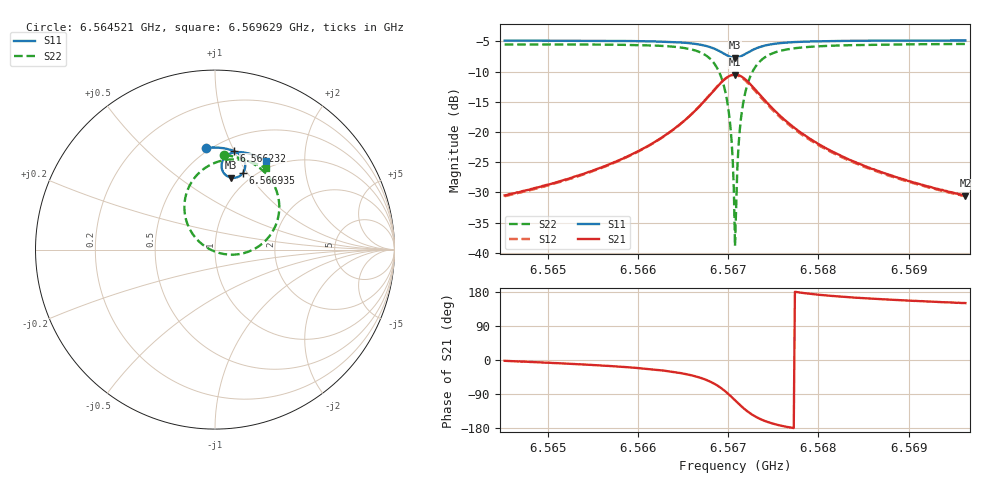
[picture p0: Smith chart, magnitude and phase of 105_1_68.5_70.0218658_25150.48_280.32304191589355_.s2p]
#  HZ  S  RI  R  50.00
! Rohde & Schwarz Vector Network Analyzer
! Rohde-Schwarz,ZNB20-2Port,1311601062101988,3.16
! Created: UTC 3/20/2024, 4:53:13 PM
! freq[Hz]  re:S11  im:S11  re:S21  im:S21  re:S12  im:S12  re:S22  im:S22
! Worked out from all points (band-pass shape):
!   401 points, 6.564521 GHz to 6.569629 GHz, reference 50 ohm
!   highest |S21| = -10.50 dB at 6.567075 GHz (marker M1); lowest = -30.5 dB at 6.569629 GHz (marker M2)
!   |S21| within 3 dB of the highest: 6.566819 GHz to 6.56733 GHz (511 kHz wide, 0.00778 % of centre)
!   lowest |S11| = -7.7 dB at 6.567075 GHz (marker M3), VSWR 2.39, Z = 41.8 + j40.4 ohm
!   |S11| at or under -10 dB: nowhere
!   |S22| runs from -38.9 to -5.4 dB; largest |S21 - S12| = 0.015
!   S11 on the Smith chart (normalised r, x): 6.564521 GHz: 0.47, +0.80; 6.566232 GHz: 0.62, +1.00; 6.566935 GHz: 0.89, +0.95; 6.569629 GHz: 0.89, +1.31
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6.5645212e9  -0.0493 0.5673  0.0299 -0.00108  0.0294 -0.00161  0.0529 0.5262
6.5653768e9  0.0217 0.5675  0.0437 -0.00892  0.043 -0.00965  0.1371 0.5104
6.5662324e9  0.1045 0.5497  0.0778 -0.0389  0.0766 -0.0399  0.2581 0.4474
6.5665261e9  0.1397 0.5279  0.101 -0.0759  0.0995 -0.0776  0.3209 0.3741
6.5667304e9  0.1639 0.4932  0.1143 -0.137  0.1116 -0.1399  0.3576 0.2564
6.5668454e9  0.168 0.4586  0.1027 -0.1975  0.0973 -0.2015  0.3405 0.1408
6.5669348e9  0.1543 0.4253  0.0615 -0.2549  0.0522 -0.2581  0.2645 0.0342
6.5669731e9  0.141 0.4123  0.0304 -0.2758  0.0191 -0.2776  0.2063 -0.00293
6.5670114e9  0.1231 0.403  -0.00899 -0.2897  -0.0217 -0.2889  0.1338 -0.0254
6.5670369e9  0.1092 0.3999  -0.0381 -0.2928  -0.0517 -0.2898  0.0806 -0.0281
6.5670497e9  0.102 0.3996  -0.0534 -0.2922  -0.0668 -0.288  0.0536 -0.0253
6.5670625e9  0.0947 0.4  -0.0685 -0.2902  -0.0819 -0.2847  0.0269 -0.0198
6.5670752e9  0.0875 0.4013  -0.0834 -0.2866  -0.0964 -0.28  0.000598 -0.0114
6.5671008e9  0.0737 0.4062  -0.1117 -0.2752  -0.1237 -0.2663  -0.0479 0.0127
6.5671263e9  0.0616 0.4138  -0.1368 -0.2587  -0.147 -0.2479  -0.0896 0.0456
6.5671518e9  0.0516 0.4235  -0.1574 -0.2385  -0.1657 -0.2266  -0.1226 0.084
6.5672029e9  0.0394 0.4462  -0.1842 -0.1931  -0.1884 -0.1806  -0.1616 0.1673
6.5672668e9  0.037 0.4739  -0.1943 -0.139  -0.1943 -0.1277  -0.1692 0.2629
6.5675094e9  0.0752 0.5301  -0.1488 -0.0292  -0.1454 -0.0246  -0.065 0.4476
6.5679308e9  0.1382 0.5434  -0.0851 0.00883  -0.083 0.0102  0.0762 0.5017
6.5687864e9  0.2206 0.525  -0.0414 0.0156  -0.0403 0.0159  0.2079 0.486
6.5696292e9  0.2841 0.4954  -0.0258 0.0147  -0.0253 0.015  0.2852 0.4519
